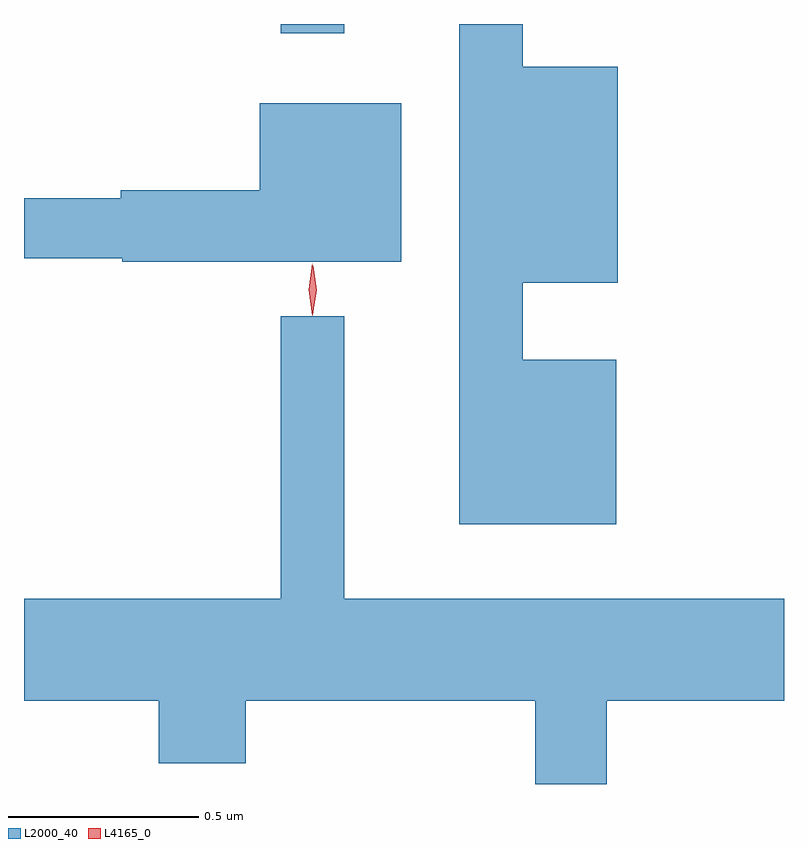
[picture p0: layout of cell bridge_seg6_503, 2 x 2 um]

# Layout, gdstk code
import gdstk
lib = gdstk.Library(unit=1e-6, precision=1e-09)
def R(c, l, rs):  # rectangles x0, y0, x1, y1
    for r in rs: c.add(gdstk.rectangle(r[:2], r[2:], *l))
def P(c, l, *ps):  # polygons
    for p in ps: c.add(gdstk.Polygon(p, *l))
L2000_40 = (2000, 40)
L4165_0 = (4165, 0)

bridge_seg6_503 = lib.new_cell('bridge_seg6_503')
R(bridge_seg6_503, L2000_40, [(685.621,1591.753,685.789,1591.777)])
P(bridge_seg6_503, L2000_40, [(686.504,1590.894),(686.259,1590.894),(686.259,1591.096),(686.509,1591.096),(686.509,1591.664),(686.259,1591.664),(686.259,1591.777),(686.091,1591.777),(686.091,1590.461),(686.504,1590.461)],
  [(685.939,1591.569),(685.566,1591.569),(685.566,1591.339),(685.201,1591.339),(685.201,1591.319),(684.946,1591.319),(684.946,1591.161),(685.205,1591.161),(685.205,1591.151),(685.939,1591.151)],
  [(686.479,1589.996),(686.946,1589.996),(686.946,1590.264),(685.789,1590.264),(685.789,1591.008),(685.621,1591.008),(685.621,1590.264),(684.946,1590.264),(684.946,1589.996),(685.301,1589.996),(685.301,1589.831),(685.529,1589.831),(685.529,1589.996),(686.291,1589.996),(686.291,1589.777),(686.479,1589.777)])
P(bridge_seg6_503, L4165_0, [(685.704,1591.01),(685.695,1591.078),(685.704,1591.146),(685.704,1591.146),(685.705,1591.146),(685.715,1591.078),(685.706,1591.01),(685.705,1591.01)],
  [(685.704,1591.013),(685.696,1591.077),(685.706,1591.141),(685.706,1591.141),(685.707,1591.141),(685.716,1591.077),(685.706,1591.013),(685.705,1591.013)])

lib.write_gds('bridge_seg6_503.gds')
